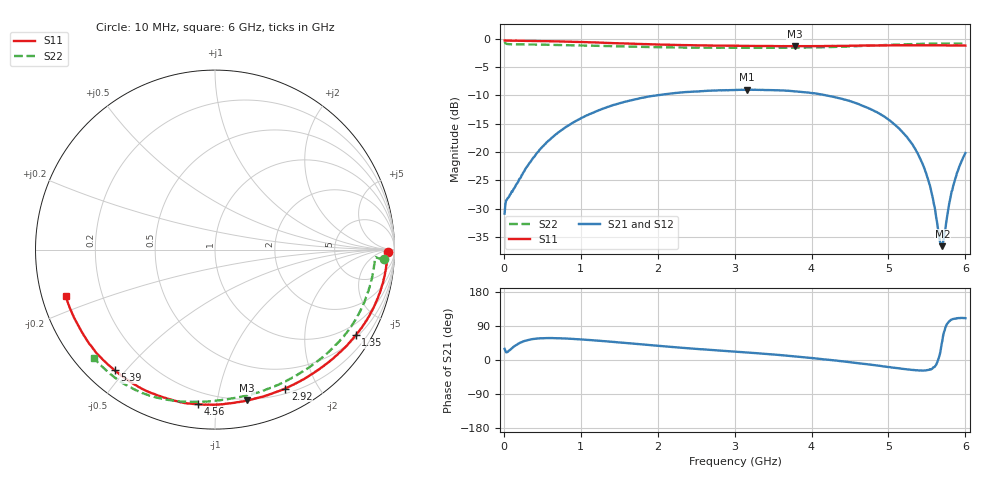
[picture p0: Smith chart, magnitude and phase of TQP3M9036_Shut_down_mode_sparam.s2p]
! TriQuint
! TQP3M9036
! 8-pin 2x2mm DFN Package
! The data is for the device in a 50 Ohm system, 2-port file de-embedded to the device leads.
! Device bias: +5V V @ 0 mA Idq
!Lot M306
! Temperature: 25C
! Date: 06/27/2013
!  Port 1 corresponds to Pin 2 on TQP3M9036 (RF input)
!  Port 2 corresponds to Pin 7 on TQP3M9036 (RF output)
! All data in ma (Magnitude/Angle) format
! freq-unit  param-type  data-format  keyword  impedance-ohms
# hz S ma R 50
! freq  magS11  angS11  magS21  angS21  magS12  angS12  magS22  angS22
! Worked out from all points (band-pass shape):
!   600 points, 10 MHz to 6 GHz, reference 50 ohm
!   highest |S21| = -8.99 dB at 3.16 GHz (marker M1); lowest = -36.6 dB at 5.7 GHz (marker M2)
!   |S21| within 3 dB of the highest: 1.362 GHz to 4.693 GHz (3.33 GHz wide, 110 % of centre)
!   lowest |S11| = -1.3 dB at 3.78 GHz (marker M3), VSWR 13.16, Z = 9.52 - j60.9 ohm
!   |S11| at or under -10 dB: nowhere
!   |S22| runs from -1.6 to -0.5 dB; largest |S21 - S12| = 0.0025
!   S11 on the Smith chart (normalised r, x): 10 MHz: 50, -17; 1.35 GHz: 0.58, -3.48; 2.92 GHz: 0.25, -1.60; 4.56 GHz: 0.13, -0.89; 5.39 GHz: 0.08, -0.47; 6 GHz: 0.07, -0.15
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1e7  0.9648 -0.7  0.02865 29.4  0.02853 31.6  0.9428 -3.2
6e7  0.9613 -1.5  0.03977 23.4  0.04042 22.6  0.8953 -2.7
4.5e8  0.955 -10.6  0.1009 57.0  0.1018 57.1  0.8867 -13.3
7e8  0.9467 -16.6  0.1475 57.5  0.147 57.6  0.8807 -20.4
1.01e9  0.9345 -23.7  0.2006 54.1  0.1995 54.4  0.8726 -28.3
1.35e9  0.9176 -31.3  0.2501 48.9  0.2496 49.1  0.8615 -36.0
2.01e9  0.8888 -45.9  0.3182 37.3  0.3171 37.3  0.8416 -50.0
2.92e9  0.8681 -63.1  0.3516 23.4  0.3516 23.4  0.832 -64.9
3.01e9  0.8656 -64.4  0.3528 22.1  0.3528 22.1  0.831 -66.2
3.16e9  0.8633 -66.9  0.3552 19.9  0.3548 19.9  0.8298 -68.6
3.78e9  0.8587 -78.0  0.3432 9.6  0.3434 9.7  0.8328 -79.9
4.01e9  0.8594 -82.4  0.3309 5.2  0.3319 5.3  0.8359 -85.2
4.56e9  0.8675 -96.4  0.2728 -7.3  0.2731 -7.1  0.8575 -98.5
5.01e9  0.8734 -112.1  0.191 -18.8  0.1917 -18.9  0.8829 -109.7
5.23e9  0.8756 -121.5  0.138 -24.5  0.1377 -24.3  0.8932 -115.4
5.39e9  0.874 -129.8  0.09419 -27.5  0.09449 -27.3  0.8995 -120.1
5.53e9  0.8758 -137.2  0.05286 -25.7  0.0537 -25.4  0.9035 -124.1
5.6e9  0.8758 -140.8  0.03281 -18.1  0.03357 -16.8  0.9044 -126.2
5.67e9  0.8743 -144.7  0.01615 16.7  0.0165 15.9  0.9058 -128.3
5.7e9  0.8726 -146.3  0.01479 50.5  0.01494 52.4  0.9058 -129.3
5.85e9  0.8714 -155.2  0.05272 108.5  0.0532 108.7  0.9063 -134.0
6e9  0.8705 -162.9  0.09806 110.4  0.09798 110.8  0.9049 -138.1
